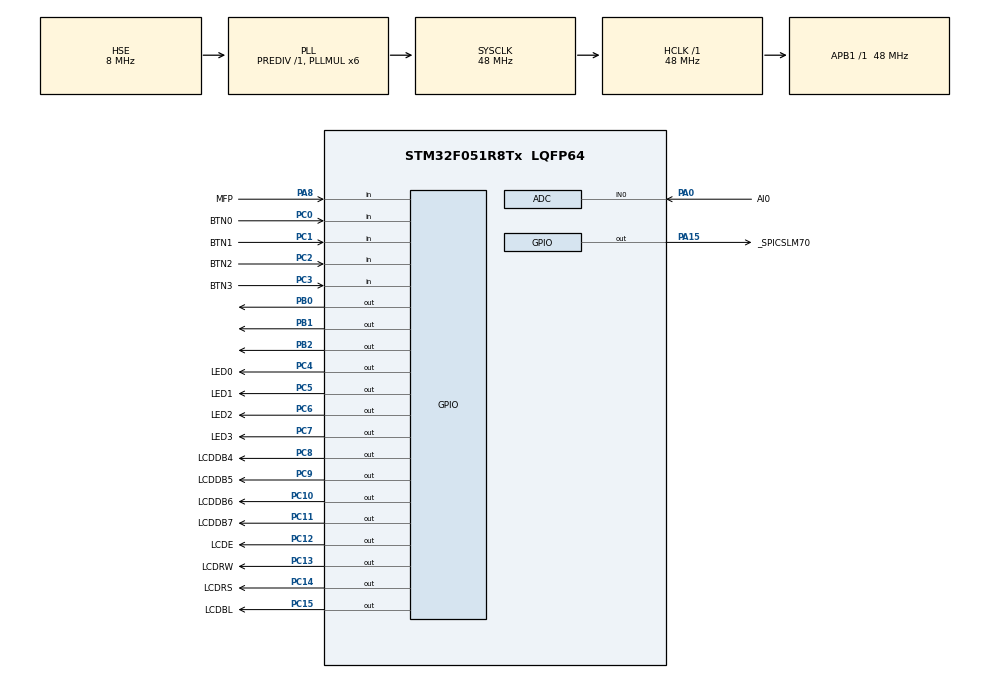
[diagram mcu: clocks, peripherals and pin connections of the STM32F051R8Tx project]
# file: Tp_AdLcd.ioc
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Mcu.Family=STM32F0
Mcu.Name=STM32F051R8Tx
Mcu.Package=LQFP64
NVIC.TIM6_DAC_IRQn=true\:0\:0\:false\:false\:true\:true\:true
PA0.GPIO_Label=AI0
PA0.Mode=IN0
PA0.Signal=ADC_IN0
PA10.GPIO_Label=USART1RX
PA10.Signal=USART1_RX
PA11.GPIO_Label=USART1CTS
PA11.Signal=USART1_CTS
PA12.GPIO_Label=USART1RTS
PA12.Signal=USART1_RTS
PA13.Mode=Serial_Wire
PA13.Signal=SYS_SWDIO
PA14.Mode=Serial_Wire
PA14.Signal=SYS_SWCLK
PA15.GPIO_Label=_SPICSLM70
PA15.PinState=GPIO_PIN_SET
PA15.Signal=GPIO_Output
PA5.GPIO_Label=SPISCK
PA5.Signal=SPI1_SCK
PA6.GPIO_Label=SPIMISO
PA6.Signal=SPI1_MISO
PA7.GPIO_Label=SPIMOSI
PA7.Signal=SPI1_MOSI
PA8.GPIO_Label=MFP
PA8.Signal=GPIO_Input
PA9.GPIO_Label=USART1TX
PA9.Signal=USART1_TX
PB0.Signal=GPIO_Output
PB1.Signal=GPIO_Output
PB2.Signal=GPIO_Output
PC0.GPIO_Label=BTN0
PC0.Signal=GPIO_Input
PC1.GPIO_Label=BTN1
PC1.Signal=GPIO_Input
PC10.GPIO_Label=LCDDB6
PC10.Signal=GPIO_Output
PC11.GPIO_Label=LCDDB7
PC11.Signal=GPIO_Output
PC12.GPIO_Label=LCDE
PC12.Signal=GPIO_Output
PC13.GPIO_Label=LCDRW
PC13.Signal=GPIO_Output
PC14-OSC32_IN.GPIO_Label=LCDRS
PC14-OSC32_IN.Signal=GPIO_Output
PC15-OSC32_OUT.GPIO_Label=LCDBL
PC15-OSC32_OUT.Signal=GPIO_Output
PC2.GPIO_Label=BTN2
PC2.Signal=GPIO_Input
PC3.GPIO_Label=BTN3
PC3.Signal=GPIO_Input
PC4.GPIO_Label=LED0
PC4.PinState=GPIO_PIN_SET
PC4.Signal=GPIO_Output
PC5.GPIO_Label=LED1
PC5.PinState=GPIO_PIN_SET
PC5.Signal=GPIO_Output
PC6.GPIO_Label=LED2
PC6.PinState=GPIO_PIN_SET
PC6.Signal=GPIO_Output
PC7.GPIO_Label=LED3
PC7.PinState=GPIO_PIN_SET
PC7.Signal=GPIO_Output
PC8.GPIO_Label=LCDDB4
PC8.Signal=GPIO_Output
PC9.GPIO_Label=LCDDB5
PC9.Signal=GPIO_Output
PF0-OSC_IN.GPIO_Label=OSCIN
PF0-OSC_IN.Mode=HSE-External-Oscillator
PF0-OSC_IN.Signal=RCC_OSC_IN
PF1-OSC_OUT.GPIO_Label=OSCOUT
PF1-OSC_OUT.Mode=HSE-External-Oscillator
PF1-OSC_OUT.Signal=RCC_OSC_OUT
PF6.Signal=I2C2_SCL
PF7.Signal=I2C2_SDA
ProjectManager.HeapSize=0x200
ProjectManager.StackSize=0x400
ProjectManager.TargetToolchain=MDK-ARM V5
RCC.AHBFreq_Value=48000000
RCC.APB1Freq_Value=48000000
RCC.APB1TimFreq_Value=48000000
RCC.EnbaleCSS=true
RCC.HCLKFreq_Value=48000000
RCC.PLLMUL=RCC_PLL_MUL6
RCC.PLLSourceVirtual=RCC_PLLSOURCE_HSE
RCC.SYSCLKFreq_VALUE=48000000
RCC.SYSCLKSource=RCC_SYSCLKSOURCE_PLLCLK
TIM6.Period=4999
TIM6.Prescaler=47
VP_TIM6_VS_ClockSourceINT.Mode=Enable_Timer
board=test01_blink

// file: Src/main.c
/* USER CODE BEGIN Header */
/**
  ******************************************************************************
  * @file           : main.c
  * @brief          : Main program body
  ******************************************************************************
  * @attention
  *
  * <h2><center>&copy; Copyright (c) 2020 STMicroelectronics.
  * All rights reserved.</center></h2>
  *
  * This software component is licensed by ST under BSD 3-Clause license,
  * the "License"; You may not use this file except in compliance with the
  * License. You may obtain a copy of the License at:
  *                        opensource.org/licenses/BSD-3-Clause
  *
  ******************************************************************************
  */
/* USER CODE END Header */
#include "main.h"
#include "adc.h"
#include "tim.h"
#include "gpio.h"

/* USER CODE BEGIN Includes */

#include "17400.h"
#include "stm32delays.h"
#include "stm32driverlcd.h"

/* USER CODE END Includes */

/* USER CODE BEGIN PTD */
typedef enum {Intialisation = 1, Execution = 2, Attente = 3, Calibration = 4}State; //Edit Henri
typedef enum {OneDigi = 1, TwoDigi = 2, ThreeDigi = 3, FourDigi = 4}NbrDigi;
/* USER CODE END PTD */

/* USER CODE BEGIN PV */
uint8_t Etat;
uint8_t Fin_Init = 0;
uint16_t valVref_mV = V_ALIM;	//valeur par d�faut � l�initialisation
char nbr_digit[4];
/* USER CODE END PV */

void SystemClock_Config(void);

/* USER CODE BEGIN 0 */

// ----------------------------------------------------------------
// Conversion tension de LSB en mV. Utilise la variable globale "valVref_mV"
// 0 -> 0 mV
// 4095 -> 3300 mV
uint16_t ConvAdcMilliVolt(uint16_t nLsb)
{

	nLsb = (nLsb*80566)/100000;
	//nLsb = (nLsb*8)/10;

	return(nLsb);
}

// ----------------------------------------------------------------
// Conversion de mV en chaine de caract�res (ou structure) exprim�e
// en V sur nDigits digits. Pr�vu pour tension entre 0 et 3,3V (=> u_mV entre 0 et 3300).
// La sortie contiendra donc unit� + �vt point d�cimal, dixi�mes, centi�mes, milli�mes,
//  selon le nb de digits demand�s.
//void ConvMilliVoltVolt(uint16_t u_mV, uint8_t nDigits, char* str_V /* *** OU STRUCTURE *** */)
//{
//	// *** A COMPLETER ! ***
//	switch(nDigits)
//	{
//		case 1 :
//			//str_V-> = u_mV/1000;
//
//			break;
//
//		case 2 :
//			//str_V-> = u_mV/100;
//
//			break;
//
//		case 3 :
//			//str_V-> = u_mV/10;
//
//			break;
//
//		case 4 :
//			//str_V-> = u_mV;
//
//			break;
//
//		default :
//		break;
//	}
//
//}

// ----------------------------------------------------------------
// *** ADC ***

// Lecture d'un canal AD par polling
// Il faut auparavant avoir configur� la/les pin(s) concern�e(s) en entr�e analogique
uint16_t Adc_read(uint8_t chNr)
{
		hadc.Instance->CHSELR = (uint32_t)chNr;

		HAL_ADC_Start(&hadc);
		HAL_ADC_PollForConversion(&hadc, HAL_MAX_DELAY);
		HAL_ADC_GetValue(&hadc);
}

// ----------------------------------------------------------------

/* USER CODE END 0 */

int main(void)
{
  /* USER CODE BEGIN 1 */
	//variables
	// *** A COMPLETER ! ***
	uint8_t Btn0;
	uint8_t Btn0_Old = 0;
	uint8_t Btn1;
	uint8_t Btn1_Old = 0;
	uint8_t Btn2;
	uint8_t Btn2_Old = 0;
	uint8_t Count_Btn0 = 0;
	uint8_t Count_Digit = 1;
	uint16_t ValBrute = 0;
	uint16_t ValMiliVolt = 0;
	uint16_t ValVolt = 0;

	//Henri
	//Tableau pour stocker les sw
	int Btn0_past = 0;
	int Val_Entre = 0;
	#define TEMPS_CALIBRATION 500
	#define REGLAGE_VREF 5

	//init
	// *** A COMPLETER ! ***

  /* USER CODE END 1 */

  /* MCU Configuration--------------------------------------------------------*/

  /* Reset of all peripherals, Initializes the Flash interface and the Systick. */
  HAL_Init();

  /* Configure the system clock */
  SystemClock_Config();

  /* Initialize all configured peripherals */
  MX_GPIO_Init();
  MX_ADC_Init();
  MX_TIM6_Init();
  /* USER CODE BEGIN 2 */
	HAL_TIM_Base_Start_IT(&htim6);
  /* USER CODE END 2 */

  /* Infinite loop */
  while (1)
  {

    /* USER CODE BEGIN 3 */

		// ---------Henri---------
		// memorisation des Sw pass�
		 Btn0_past = Btn0;

		 // Conteur pour rentr� dans le menu de calibration
		 if ((Btn0 != 0) && (Btn0_past != 0)) 		// reading the switch is not correct
		 {
				 // Incrementation du compteur
				 Val_Entre++;

				 // Si le compteur est sup�rieur � 500, on appelle la fonction de calibration
				 if (Val_Entre > TEMPS_CALIBRATION)
				 {
						 Etat = Calibration; //Mise de la switch en mode de calibration
				 }
		 }
		 else if (Btn0 == 0)
		 {
				 // R�initialisation du compteur
				 Val_Entre = 0;
		 }
		//

		// *** A COMPLETER ! ***
		switch(Etat)
		{
			case Intialisation :
				/*Allumer les LEDs LED0 a LED3*/
				HAL_GPIO_WritePin(LED0_PORT, LED0_BIT, GPIO_PIN_SET);
				HAL_GPIO_WritePin(LED1_PORT, LED1_BIT, GPIO_PIN_SET);
				HAL_GPIO_WritePin(LED2_PORT, LED2_BIT, GPIO_PIN_SET);
				HAL_GPIO_WritePin(LED3_PORT, LED3_BIT, GPIO_PIN_SET);
				HAL_ADCEx_Calibration_Start(&hadc);
				/*Affichage du message d'initialisation sur le LCD*/
				lcd_init();
				printf_lcd("TP7 AdLcd <2025>");
				lcd_gotoxy(1,2);
				printf_lcd("KGR HMT");
				lcd_bl_on();

				break;

			case Execution :

				ValBrute = Adc_read(0); //METTRE LE CANAL A UTILISER
				ValMiliVolt = ConvAdcMilliVolt(ValBrute);

				Btn0 = HAL_GPIO_ReadPin(BTN0_PORT, BTN0_BIT);
				Btn1 = HAL_GPIO_ReadPin(BTN1_PORT, BTN1_BIT);
			  Btn2 = HAL_GPIO_ReadPin(BTN2_PORT, BTN2_BIT);

				if((Btn1 != Btn1_Old)&&(Btn1_Old == 0))
				{
					Count_Digit --;
					if(Count_Digit < 1)
					{
						Count_Digit = 0;
					}
				}

				if((Btn2 != Btn2_Old)&&(Btn2_Old == 0))
				{
					Count_Digit ++;
					if(Count_Digit > 4)
					{
						Count_Digit = 4;
					}
				}

				switch(Count_Digit)
				{
					case OneDigi :
						if((Btn0 != Btn0_Old)&&(Btn0_Old == 0))
						{
							Count_Btn0 ++;
							if(Count_Btn0 == 2)
							{
								HAL_GPIO_WritePin(LED0_PORT, LED0_BIT, GPIO_PIN_SET );	// Eteindre la LED 0
								HAL_GPIO_WritePin(LED1_PORT, LED1_BIT, GPIO_PIN_SET ); 	// Eteindre la LED 1
								HAL_GPIO_WritePin(LED2_PORT, LED2_BIT, GPIO_PIN_SET ); 	// Eteindre la LED 2
								HAL_GPIO_WritePin(LED3_PORT, LED3_BIT, GPIO_PIN_SET ); 	// Eteindre la LED 3

								lcd_gotoxy(1,2);
								printf_lcd("");
								Count_Btn0 = 0;
							}
							else
							{
								HAL_GPIO_WritePin(LED0_PORT, LED0_BIT, GPIO_PIN_RESET );	// allumer la LED 0
								printf_lcd("AI0 : %4d / %4d", ValBrute, ValMiliVolt);
								lcd_gotoxy(1,2);
								printf_lcd("%d", ValVolt);
							}
						}
							break;

					case TwoDigi :
						if((Btn0 != Btn0_Old)&&(Btn0_Old == 0))
						{
							Count_Btn0 ++;
							if(Count_Btn0 == 2)
							{
								HAL_GPIO_WritePin(LED0_PORT, LED0_BIT, GPIO_PIN_SET );		// Eteindre la LED 0
								HAL_GPIO_WritePin(LED1_PORT, LED1_BIT, GPIO_PIN_SET ); 		// Eteindre la LED 1
								HAL_GPIO_WritePin(LED2_PORT, LED2_BIT, GPIO_PIN_SET ); 		// Eteindre la LED 2
								HAL_GPIO_WritePin(LED3_PORT, LED3_BIT, GPIO_PIN_SET );	 	// Eteindre la LED 3

								lcd_gotoxy(1,2);
								printf_lcd("");
								Count_Btn0 = 0;
							}
							else
							{
								HAL_GPIO_WritePin(LED0_PORT, LED0_BIT, GPIO_PIN_RESET );	// allumer la LED 0
								HAL_GPIO_WritePin(LED1_PORT, LED1_BIT, GPIO_PIN_RESET );	// allumer la LED 1
								printf_lcd("AI0 : %4d / %4d", ValBrute, ValMiliVolt);
								lcd_gotoxy(1,2);
								printf_lcd("%3d", ValVolt);
							}
						}
						break;

					case ThreeDigi :
						if((Btn0 != Btn0_Old)&&(Btn0_Old == 0))
						{
							Count_Btn0 ++;
							if(Count_Btn0 == 2)
							{
								HAL_GPIO_WritePin(LED0_PORT, LED0_BIT, GPIO_PIN_SET );		// Eteindre la LED 0
								HAL_GPIO_WritePin(LED1_PORT, LED1_BIT, GPIO_PIN_SET ); 		// Eteindre la LED 1
								HAL_GPIO_WritePin(LED2_PORT, LED2_BIT, GPIO_PIN_SET ); 		// Eteindre la LED 2
								HAL_GPIO_WritePin(LED3_PORT, LED3_BIT, GPIO_PIN_SET ); 		// Eteindre la LED 3

								lcd_gotoxy(1,2);
								printf_lcd("");
								Count_Btn0 = 0;
							}
							else
							{
								HAL_GPIO_WritePin(LED0_PORT, LED0_BIT, GPIO_PIN_RESET );	// allumer la LED 0
								HAL_GPIO_WritePin(LED1_PORT, LED1_BIT, GPIO_PIN_RESET );	// allumer la LED 1
								HAL_GPIO_WritePin(LED2_PORT, LED2_BIT, GPIO_PIN_RESET );	// allumer la LED 2
								printf_lcd("AI0 : %4d / %4d", ValBrute, ValMiliVolt);
								lcd_gotoxy(1,2);
								printf_lcd("%4d", ValVolt);
							}
						}
						break;

					case FourDigi :
						if((Btn0 != Btn0_Old)&&(Btn0_Old == 0))
						{
							Count_Btn0 ++;
							if(Count_Btn0 == 2)
							{
								HAL_GPIO_WritePin(LED0_PORT, LED0_BIT, GPIO_PIN_SET );	// Eteindre la LED 0
								HAL_GPIO_WritePin(LED1_PORT, LED1_BIT, GPIO_PIN_SET ); 	// Eteindre la LED 1
								HAL_GPIO_WritePin(LED2_PORT, LED2_BIT, GPIO_PIN_SET ); 	// Eteindre la LED 2
								HAL_GPIO_WritePin(LED3_PORT, LED3_BIT, GPIO_PIN_SET ); 	// Eteindre la LED 3

								lcd_gotoxy(1,2);
								printf_lcd("");
								Count_Btn0 = 0;
							}
							else
							{
								HAL_GPIO_WritePin(LED0_PORT, LED0_BIT, GPIO_PIN_RESET );	// allumer la LED 0
								HAL_GPIO_WritePin(LED1_PORT, LED1_BIT, GPIO_PIN_RESET );	// allumer la LED 1
								HAL_GPIO_WritePin(LED2_PORT, LED2_BIT, GPIO_PIN_RESET );	// allumer la LED 2
								HAL_GPIO_WritePin(LED3_PORT, LED3_BIT, GPIO_PIN_RESET );	// allumer la LED 3
								printf_lcd("AI0 : %4d / %4d", ValBrute, ValMiliVolt);
								lcd_gotoxy(1,2);
								printf_lcd("%5d", ValVolt);
							}
						}
						break;

					default :
						break;
				}

				if((Btn0 != Btn0_Old)&&(Btn0_Old == 0))
				{
					Count_Btn0 ++;
					if(Count_Btn0 == 2)
					{
						HAL_GPIO_WritePin(LED0_PORT, LED0_BIT, GPIO_PIN_SET );	// Eteindre la LED 0
						HAL_GPIO_WritePin(LED1_PORT, LED1_BIT, GPIO_PIN_SET ); // Eteindre la LED 1
						HAL_GPIO_WritePin(LED2_PORT, LED2_BIT, GPIO_PIN_SET ); // Eteindre la LED 2
						HAL_GPIO_WritePin(LED3_PORT, LED3_BIT, GPIO_PIN_SET ); // Eteindre la LED 3

						lcd_gotoxy(1,2);
						printf_lcd("");
						Count_Btn0 = 0;
					}
					else
					{
						HAL_GPIO_WritePin(LED0_PORT, LED0_BIT, GPIO_PIN_RESET );	// allumer la LED 0
						printf_lcd("AI0 : %4d / %4d", ValBrute, ValMiliVolt);
						lcd_gotoxy(1,2);
						printf_lcd("%d");
					}
				}

				//ConvMilliVoltVolt(ValMiliVolt, Count_Digit);
				break;

			case Attente :

				break;

			default :

				break;

		Btn0_Old = Btn0_Old;
		Btn1_Old = Btn1_Old;
		Btn2_Old = Btn2_Old;

		Etat = Attente;

			// ------------Switch de calibration------------  //
			case Calibration :
						lcd_init();
						// Rest du conteur
						Val_Entre = 0;
						//Apr�s que on appui pour plus que 500ms, on peut commencer la calibration
						printf_lcd("R11 au maximum");
						lcd_gotoxy(1, 2);

						while (Val_Entre != 0)  // Added proper condition
						{
								// Si on appui sur le bouton 0, on diminue la valeur de la r�f�rence
								if (Btn0 != 0)
								{
										valVref_mV = valVref_mV - REGLAGE_VREF;
									// Add in that we can see the value change on display and get the back light on
								}

								// Si on appui sur le bouton 2, on augmente la valeur de la r�f�rence
								if (Btn2 != 0)
								{
										valVref_mV = valVref_mV + REGLAGE_VREF;
								}
								lcd_gotoxy(1, 2);
								printf_lcd("%d", valVref_mV);

						}

						break;
		}

  }

  /* USER CODE END 3 */
}

void SystemClock_Config(void)
{
  RCC_OscInitTypeDef RCC_OscInitStruct = {0};
  RCC_ClkInitTypeDef RCC_ClkInitStruct = {0};

  /** Initializes the RCC Oscillators according to the specified parameters
  * in the RCC_OscInitTypeDef structure.
  */
  RCC_OscInitStruct.OscillatorType = RCC_OSCILLATORTYPE_HSI14|RCC_OSCILLATORTYPE_HSE;
  RCC_OscInitStruct.HSEState = RCC_HSE_ON;
  RCC_OscInitStruct.HSI14State = RCC_HSI14_ON;
  RCC_OscInitStruct.HSI14CalibrationValue = 16;
  RCC_OscInitStruct.PLL.PLLState = RCC_PLL_ON;
  RCC_OscInitStruct.PLL.PLLSource = RCC_PLLSOURCE_HSE;
  RCC_OscInitStruct.PLL.PLLMUL = RCC_PLL_MUL6;
  RCC_OscInitStruct.PLL.PREDIV = RCC_PREDIV_DIV1;
  if (HAL_RCC_OscConfig(&RCC_OscInitStruct) != HAL_OK)
  {
    Error_Handler();
  }
  /** Initializes the CPU, AHB and APB buses clocks
  */
  RCC_ClkInitStruct.ClockType = RCC_CLOCKTYPE_HCLK|RCC_CLOCKTYPE_SYSCLK
                              |RCC_CLOCKTYPE_PCLK1;
  RCC_ClkInitStruct.SYSCLKSource = RCC_SYSCLKSOURCE_PLLCLK;
  RCC_ClkInitStruct.AHBCLKDivider = RCC_SYSCLK_DIV1;
  RCC_ClkInitStruct.APB1CLKDivider = RCC_HCLK_DIV1;

  if (HAL_RCC_ClockConfig(&RCC_ClkInitStruct, FLASH_LATENCY_1) != HAL_OK)
  {
    Error_Handler();
  }
  /** Enables the Clock Security System
  */
  HAL_RCC_EnableCSS();
}

/* USER CODE BEGIN 4 */
void HAL_TIM_PeriodElapsedCallback(TIM_HandleTypeDef *htim)
{
	uint16_t Count;
	uint16_t Compteur;

	HAL_GPIO_TogglePin(LED0_GPIO_Port, LED0_Pin);

	if(Fin_Init == 0)
	{
		if(Count < COUNT_MAX)
		{
			Count ++;
			Compteur ++;
		}
		else
		{
			Compteur = 0;
			Fin_Init = 1;
			Etat = 2;
		}
	}
	else
	{
		if(Compteur < COMPTEUR_MAX)
		{
			Compteur = 0;
			Etat = 2;
		}
		else
		{
		  Compteur ++;
		}
	}
}
/* USER CODE END 4 */

void Error_Handler(void)
{
}

/************************ (C) COPYRIGHT STMicroelectronics *****END OF FILE****/
